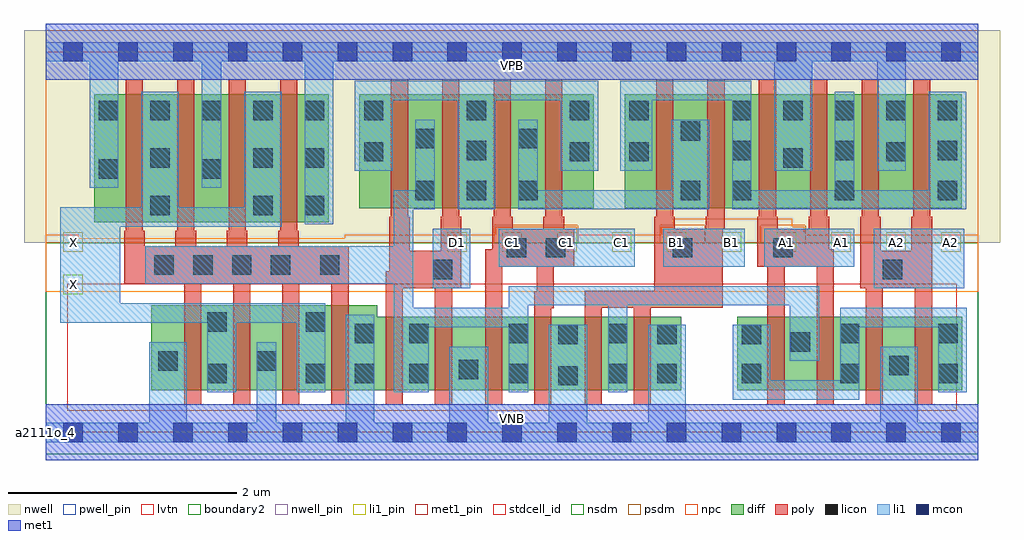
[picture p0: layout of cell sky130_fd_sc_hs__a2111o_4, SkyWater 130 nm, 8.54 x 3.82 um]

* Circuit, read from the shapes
.subckt sky130_fd_sc_hs__a2111o_4 A1 A2 B1 C1 D1 VGND VNB VPB VPWR X
XM1 X n1 VGND VNB sky130_fd_pr__nfet_01v8_lvt w=0.74 l=0.15 m=4
XM2 n1 D1 VGND VNB sky130_fd_pr__nfet_01v8_lvt w=0.64 l=0.15 m=2
XM3 n1 C1 VGND VNB sky130_fd_pr__nfet_01v8_lvt w=0.64 l=0.15 m=2
XM4 n1 B1 VGND VNB sky130_fd_pr__nfet_01v8_lvt w=0.64 l=0.15 m=2
XM5 n1 A1 n2 VNB sky130_fd_pr__nfet_01v8_lvt w=0.64 l=0.15 m=2
XM6 VGND A2 n2 VNB sky130_fd_pr__nfet_01v8_lvt w=0.64 l=0.15 m=2
XM7 X n1 VPWR VPB sky130_fd_pr__pfet_01v8 w=1.12 l=0.15 m=4
XM8 n1 D1 n3 VPB sky130_fd_pr__pfet_01v8 w=1 l=0.15 m=2
XM9 n4 C1 n3 VPB sky130_fd_pr__pfet_01v8 w=1 l=0.15 m=2
XM10 n4 B1 n5 VPB sky130_fd_pr__pfet_01v8 w=1 l=0.15 m=2
XM11 VPWR A1 n5 VPB sky130_fd_pr__pfet_01v8 w=1 l=0.15 m=2
XM12 VPWR A2 n5 VPB sky130_fd_pr__pfet_01v8 w=1 l=0.15 m=2
.ends

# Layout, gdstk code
import gdstk
lib = gdstk.Library(unit=1e-6, precision=1e-09)
def R(c, l, rs):  # rectangles x0, y0, x1, y1
    for r in rs: c.add(gdstk.rectangle(r[:2], r[2:], *l))
def A(c, l, x, y, w, h, nx, ny, dx, dy):  # array of equal rectangles
    R(c, l, [(x+i*dx, y+j*dy, x+i*dx+w, y+j*dy+h) for i in range(nx) for j in range(ny)])
def P(c, l, *ps):  # polygons
    for p in ps: c.add(gdstk.Polygon(p, *l))
nwell_pin = (64, 16)
nwell = (64, 20)
diff = (65, 20)
poly = (66, 20)
licon = (66, 44)
li1_pin = (67, 16)
li1 = (67, 20)
mcon = (67, 44)
met1_pin = (68, 16)
met1 = (68, 20)
stdcell_id = (81, 4)
nsdm = (93, 44)
psdm = (94, 20)
npc = (95, 20)
pwell_pin = (122, 16)
lvtn = (125, 44)
boundary2 = (236, 0)

sky130_fd_sc_hs__a2111o_ = lib.new_cell('sky130_fd_sc_hs__a2111o_4')
R(sky130_fd_sc_hs__a2111o_, nwell_pin, [(0,3.085,8.16,3.33)])
R(sky130_fd_sc_hs__a2111o_, nwell, [(-0.19,1.66,8.35,3.52)])
R(sky130_fd_sc_hs__a2111o_, diff, [(6.05,0.37,8.02,1.01), (0.425,1.84,2.475,2.96), (2.745,1.96,4.795,2.96), (5.065,1.96,8.015,2.96)])
P(sky130_fd_sc_hs__a2111o_, diff, [(5.56,1.01),(2.9,1.01),(2.9,1.11),(0.925,1.11),(0.925,0.37),(5.56,0.37)])
P(sky130_fd_sc_hs__a2111o_, poly, [(2.65,1.63),(2.215,1.63),(2.215,1.765),(2.2,1.765),(2.2,3.09),(2.05,3.09),(2.05,1.765),(2.035,1.765),(2.035,1.63),(1.765,1.63),(1.765,1.765),(1.75,1.765),(1.75,3.09),(1.6,3.09),(1.6,1.765),(1.585,1.765),(1.585,1.63),(1.315,1.63),(1.315,1.765),(1.3,1.765),(1.3,3.09),(1.15,3.09),(1.15,1.765),(1.135,1.765),(1.135,1.63),(0.865,1.63),(0.865,1.765),(0.85,1.765),(0.85,3.09),(0.7,3.09),(0.7,1.765),(0.685,1.765),(0.685,1.3),(1.21,1.3),(1.21,0.24),(1.36,0.24),(1.36,1.3),(1.64,1.3),(1.64,0.24),(1.79,0.24),(1.79,1.3),(2.07,1.3),(2.07,0.24),(2.22,0.24),(2.22,1.3),(2.5,1.3),(2.5,0.24),(2.65,0.24)],
  [(3.635,1.885),(3.62,1.885),(3.62,3.09),(3.47,3.09),(3.47,1.885),(3.455,1.885),(3.455,1.59),(3.185,1.59),(3.185,1.885),(3.17,1.885),(3.17,3.09),(3.02,3.09),(3.02,1.885),(3.005,1.885),(3.005,1.41),(2.975,1.41),(2.975,0.24),(3.125,0.24),(3.125,1.26),(3.405,1.26),(3.405,0.24),(3.555,0.24),(3.555,1.26),(3.635,1.26)],
  [(4.625,1.78),(4.535,1.78),(4.535,1.885),(4.52,1.885),(4.52,3.09),(4.37,3.09),(4.37,1.885),(4.355,1.885),(4.355,1.78),(4.085,1.78),(4.085,1.885),(4.07,1.885),(4.07,3.09),(3.92,3.09),(3.92,1.885),(3.905,1.885),(3.905,1.6),(3.845,1.6),(3.845,0.24),(3.995,0.24),(3.995,1.45),(4.295,1.45),(4.295,1.235),(4.275,1.235),(4.275,0.24),(4.425,0.24),(4.425,1.085),(4.445,1.085),(4.445,1.45),(4.625,1.45)],
  [(7.755,1.885),(7.74,1.885),(7.74,3.09),(7.59,3.09),(7.59,1.885),(7.575,1.885),(7.575,1.59),(7.305,1.59),(7.305,1.885),(7.29,1.885),(7.29,3.09),(7.14,3.09),(7.14,1.885),(7.125,1.885),(7.125,1.26),(7.175,1.26),(7.175,0.24),(7.325,0.24),(7.325,1.26),(7.605,1.26),(7.605,0.24),(7.755,0.24)],
  [(6.895,1.6),(6.855,1.6),(6.855,1.885),(6.84,1.885),(6.84,3.09),(6.69,3.09),(6.69,1.885),(6.675,1.885),(6.675,1.78),(6.405,1.78),(6.405,1.885),(6.39,1.885),(6.39,3.09),(6.24,3.09),(6.24,1.885),(6.225,1.885),(6.225,1.45),(6.315,1.45),(6.315,0.24),(6.465,0.24),(6.465,1.45),(6.745,1.45),(6.745,0.24),(6.895,0.24)],
  [(5.94,3.09),(5.79,3.09),(5.79,1.885),(5.775,1.885),(5.775,1.78),(5.505,1.78),(5.505,1.885),(5.49,1.885),(5.49,3.09),(5.34,3.09),(5.34,1.885),(5.325,1.885),(5.325,1.24),(4.715,1.24),(4.715,0.24),(4.865,0.24),(4.865,1.09),(5.145,1.09),(5.145,0.24),(5.295,0.24),(5.295,1.09),(5.925,1.09),(5.925,1.78),(5.94,1.78)])
A(sky130_fd_sc_hs__a2111o_, licon, 3.18, 0.43, 0.17, 0.17, 3, 2, 0.87, 0.35)
A(sky130_fd_sc_hs__a2111o_, licon, 6.09, 0.43, 0.17, 0.17, 3, 1, 0.86, 0)
A(sky130_fd_sc_hs__a2111o_, licon, 0.95, 1.38, 0.17, 0.17, 4, 1, 0.34, 0)
A(sky130_fd_sc_hs__a2111o_, licon, 3.235, 2.03, 0.17, 0.17, 3, 1, 0.45, 0)
A(sky130_fd_sc_hs__a2111o_, licon, 6.005, 2.03, 0.17, 0.17, 3, 2, 0.9, 0.35)
A(sky130_fd_sc_hs__a2111o_, licon, 0.465, 2.73, 0.17, 0.17, 5, 1, 0.45, 0)
A(sky130_fd_sc_hs__a2111o_, licon, 2.785, 2.73, 0.17, 0.17, 3, 1, 0.9, 0)
A(sky130_fd_sc_hs__a2111o_, licon, 6.005, 2.73, 0.17, 0.17, 5, 1, 0.45, 0)
R(sky130_fd_sc_hs__a2111o_, licon, [(4.485,0.41,4.655,0.58), (1.415,0.43,1.585,0.6), (2.275,0.43,2.445,0.6), (2.705,0.43,2.875,0.6), (5.35,0.43,5.52,0.6), (3.615,0.465,3.785,0.635), (7.38,0.5,7.55,0.67), (0.985,0.54,1.155,0.71), (1.845,0.54,2.015,0.71), (6.52,0.705,6.69,0.875), (4.485,0.77,4.655,0.94), (5.35,0.77,5.52,0.94), (6.09,0.77,6.26,0.94), (2.705,0.78,2.875,0.95), (6.95,0.78,7.12,0.95), (7.81,0.78,7.98,0.95), (1.415,0.88,1.585,1.05), (2.275,0.88,2.445,1.05), (3.385,1.34,3.555,1.51), (7.325,1.34,7.495,1.51), (2.4,1.38,2.57,1.55), (4.035,1.53,4.205,1.7), (4.375,1.53,4.545,1.7), (5.485,1.53,5.655,1.7), (6.365,1.53,6.535,1.7), (0.915,1.9,1.085,2.07), (1.815,1.9,1.985,2.07), (2.265,1.9,2.435,2.07), (5.555,2.03,5.725,2.2), (0.465,2.22,0.635,2.39), (1.365,2.22,1.535,2.39), (0.915,2.315,1.085,2.485), (1.815,2.315,1.985,2.485), (2.265,2.315,2.435,2.485), (6.455,2.315,6.625,2.485), (2.785,2.37,2.955,2.54), (4.585,2.37,4.755,2.54), (5.105,2.37,5.275,2.54), (7.355,2.37,7.525,2.54), (3.685,2.38,3.855,2.55), (3.235,2.485,3.405,2.655), (4.135,2.485,4.305,2.655), (5.555,2.55,5.725,2.72), (5.105,2.73,5.275,2.9)])
A(sky130_fd_sc_hs__a2111o_, li1_pin, 3.515, 1.58, 0.17, 0.17, 10, 1, 0.48, 0)
R(sky130_fd_sc_hs__a2111o_, li1_pin, [(0.155,1.21,0.325,1.38), (0.155,1.58,0.325,1.75)])
R(sky130_fd_sc_hs__a2111o_, li1, [(3.385,1.26,3.715,1.78), (7.245,1.26,8.035,1.78), (3.965,1.45,5.155,1.78), (5.405,1.45,6.115,1.78), (6.285,1.45,7.075,1.78)])
P(sky130_fd_sc_hs__a2111o_, li1, [(2.265,1.82),(2.265,3.245),(1.535,3.245),(1.535,2.14),(1.365,2.14),(1.365,3.245),(0.635,3.245),(0.635,2.14),(0.385,2.14),(0.385,3.245),(0,3.245),(0,3.415),(8.16,3.415),(8.16,3.245),(7.525,3.245),(7.525,2.29),(7.275,2.29),(7.275,3.245),(6.705,3.245),(6.705,2.29),(6.375,2.29),(6.375,3.245),(2.515,3.245),(2.515,1.82)],
  [(5.27,0.085),(5.27,0.94),(5.6,0.94),(5.6,0.085),(7.3,0.085),(7.3,0.75),(7.63,0.75),(7.63,0.085),(8.16,0.085),(8.16,-0.085),(0,-0.085),(0,0.085),(0.905,0.085),(0.905,0.79),(1.235,0.79),(1.235,0.085),(1.845,0.085),(1.845,0.79),(2.015,0.79),(2.015,0.085),(2.625,0.085),(2.625,1.03),(2.875,1.03),(2.875,0.085),(3.53,0.085),(3.53,0.75),(3.87,0.75),(3.87,0.085),(4.4,0.085),(4.4,0.94),(4.74,0.94),(4.74,0.085)],
  [(0.65,1.13),(2.445,1.13),(2.445,0.35),(2.195,0.35),(2.195,0.96),(1.665,0.96),(1.665,0.35),(1.415,0.35),(1.415,0.96),(0.125,0.96),(0.125,1.97),(0.835,1.97),(0.835,2.98),(1.165,2.98),(1.165,1.97),(1.735,1.97),(1.735,2.98),(2.065,2.98),(2.065,1.8),(0.65,1.8)],
  [(0.87,1.3),(0.87,1.63),(3.045,1.63),(3.045,2.12),(3.235,2.12),(3.235,2.735),(3.405,2.735),(3.405,1.95),(3.215,1.95),(3.215,1.09),(4.05,1.09),(4.05,1.28),(6.77,1.28),(6.77,0.625),(6.51,0.625),(6.51,1.11),(5.09,1.11),(5.09,0.35),(4.92,0.35),(4.92,1.11),(4.22,1.11),(4.22,0.35),(4.05,0.35),(4.05,0.92),(3.35,0.92),(3.35,0.35),(3.045,0.35),(3.045,1.3)],
  [(2.705,2.29),(2.705,3.075),(4.835,3.075),(4.835,2.29),(4.505,2.29),(4.505,2.905),(3.935,2.905),(3.935,1.95),(3.605,1.95),(3.605,2.905),(3.035,2.905),(3.035,2.29)],
  [(5.475,2.12),(5.475,2.735),(5.805,2.735),(5.805,1.95),(4.135,1.95),(4.135,2.735),(4.305,2.735),(4.305,2.12)],
  [(8.055,2.98),(7.725,2.98),(7.725,2.12),(7.075,2.12),(7.075,2.98),(6.905,2.98),(6.905,2.12),(6.175,2.12),(6.175,3.075),(5.025,3.075),(5.025,2.29),(5.305,2.29),(5.305,2.905),(6.005,2.905),(6.005,1.95),(8.055,1.95)],
  [(8.06,1.09),(6.95,1.09),(6.95,0.455),(6.34,0.455),(6.34,0.94),(6.01,0.94),(6.01,0.285),(7.12,0.285),(7.12,0.92),(7.81,0.92),(7.81,0.35),(8.06,0.35)])
A(sky130_fd_sc_hs__a2111o_, mcon, 0.155, -0.085, 0.17, 0.17, 17, 2, 0.48, 3.33)
R(sky130_fd_sc_hs__a2111o_, met1_pin, [(0,0,8.16,0.245), (0,3.085,8.16,3.33)])
R(sky130_fd_sc_hs__a2111o_, met1, [(0,-0.245,8.16,0.245), (0,3.085,8.16,3.575)])
R(sky130_fd_sc_hs__a2111o_, stdcell_id, [(0,0,8.16,3.33)])
R(sky130_fd_sc_hs__a2111o_, nsdm, [(0,-0.19,8.16,1.66)])
P(sky130_fd_sc_hs__a2111o_, psdm, [(8.16,3.52),(0,3.52),(0,1.66),(3.925,1.66),(3.925,1.81),(4.655,1.81),(4.655,1.66),(5.375,1.66),(5.375,1.81),(5.765,1.81),(5.765,1.66),(6.255,1.66),(6.255,1.81),(6.645,1.81),(6.645,1.66),(8.16,1.66)])
P(sky130_fd_sc_hs__a2111o_, npc, [(8.16,1.73),(6.635,1.73),(6.635,1.8),(6.53,1.8),(6.53,1.87),(5.49,1.87),(5.49,1.8),(5.385,1.8),(5.385,1.73),(4.645,1.73),(4.645,1.8),(3.935,1.8),(3.935,1.73),(2.615,1.73),(2.615,1.7),(0.285,1.7),(0.285,1.73),(0,1.73),(0,1.23),(8.16,1.23)])
R(sky130_fd_sc_hs__a2111o_, pwell_pin, [(0,0,8.16,0.245)])
R(sky130_fd_sc_hs__a2111o_, lvtn, [(0.19,0.19,7.97,1.3)])
R(sky130_fd_sc_hs__a2111o_, boundary2, [(0,0,8.16,3.33)])
sky130_fd_sc_hs__a2111o_.add(gdstk.Label('a2111o_4', (0,0), layer=83, texttype=44))
sky130_fd_sc_hs__a2111o_.add(gdstk.Label('VNB', (4.08,0.123), layer=64, texttype=59))
sky130_fd_sc_hs__a2111o_.add(gdstk.Label('VPB', (4.08,3.208), layer=64, texttype=5))
sky130_fd_sc_hs__a2111o_.add(gdstk.Label('VPWR', (4.08,3.208), layer=68, texttype=5))
sky130_fd_sc_hs__a2111o_.add(gdstk.Label('VGND', (4.08,0.123), layer=68, texttype=5))
sky130_fd_sc_hs__a2111o_.add(gdstk.Label('X', (0.24,1.295), layer=67, texttype=5))
sky130_fd_sc_hs__a2111o_.add(gdstk.Label('X', (0.24,1.665), layer=67, texttype=5))
sky130_fd_sc_hs__a2111o_.add(gdstk.Label('D1', (3.6,1.665), layer=67, texttype=5))
sky130_fd_sc_hs__a2111o_.add(gdstk.Label('C1', (4.08,1.665), layer=67, texttype=5))
sky130_fd_sc_hs__a2111o_.add(gdstk.Label('C1', (4.56,1.665), layer=67, texttype=5))
sky130_fd_sc_hs__a2111o_.add(gdstk.Label('C1', (5.04,1.665), layer=67, texttype=5))
sky130_fd_sc_hs__a2111o_.add(gdstk.Label('B1', (5.52,1.665), layer=67, texttype=5))
sky130_fd_sc_hs__a2111o_.add(gdstk.Label('B1', (6,1.665), layer=67, texttype=5))
sky130_fd_sc_hs__a2111o_.add(gdstk.Label('A2', (7.44,1.665), layer=67, texttype=5))
sky130_fd_sc_hs__a2111o_.add(gdstk.Label('A2', (7.92,1.665), layer=67, texttype=5))
sky130_fd_sc_hs__a2111o_.add(gdstk.Label('A1', (6.48,1.665), layer=67, texttype=5))
sky130_fd_sc_hs__a2111o_.add(gdstk.Label('A1', (6.96,1.665), layer=67, texttype=5))

lib.write_gds('sky130_fd_sc_hs__a2111o_4.gds')
